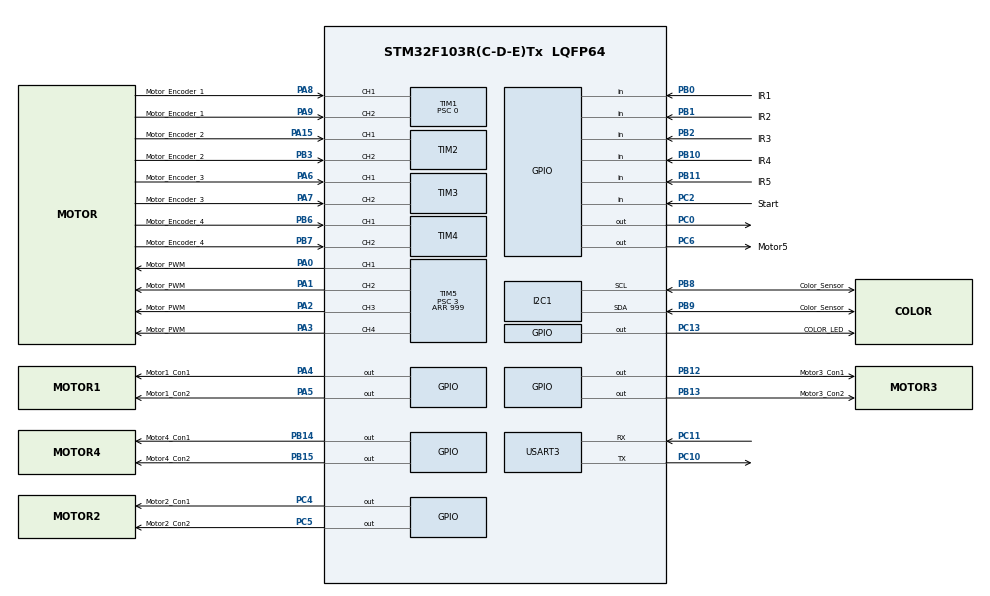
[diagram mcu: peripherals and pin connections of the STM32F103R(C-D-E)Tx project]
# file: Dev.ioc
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Dma.Request0=USART3_RX
Dma.Request1=USART3_TX
Dma.USART3_RX.0.Direction=DMA_PERIPH_TO_MEMORY
Dma.USART3_RX.0.Instance=DMA1_Channel3
Dma.USART3_RX.0.MemDataAlignment=DMA_MDATAALIGN_BYTE
Dma.USART3_RX.0.MemInc=DMA_MINC_ENABLE
Dma.USART3_RX.0.Mode=DMA_NORMAL
Dma.USART3_RX.0.PeriphDataAlignment=DMA_PDATAALIGN_BYTE
Dma.USART3_RX.0.PeriphInc=DMA_PINC_DISABLE
Dma.USART3_RX.0.Priority=DMA_PRIORITY_VERY_HIGH
Dma.USART3_TX.1.Direction=DMA_MEMORY_TO_PERIPH
Dma.USART3_TX.1.Instance=DMA1_Channel2
Dma.USART3_TX.1.MemDataAlignment=DMA_MDATAALIGN_BYTE
Dma.USART3_TX.1.MemInc=DMA_MINC_ENABLE
Dma.USART3_TX.1.Mode=DMA_NORMAL
Dma.USART3_TX.1.PeriphDataAlignment=DMA_PDATAALIGN_BYTE
Dma.USART3_TX.1.PeriphInc=DMA_PINC_DISABLE
Dma.USART3_TX.1.Priority=DMA_PRIORITY_HIGH
I2C1.I2C_Mode=I2C_Fast
Mcu.Family=STM32F1
Mcu.Name=STM32F103R(C-D-E)Tx
Mcu.Package=LQFP64
NVIC.DMA1_Channel2_IRQn=true\:0\:0\:false\:false\:true\:false\:true\:true
NVIC.DMA1_Channel3_IRQn=true\:0\:0\:false\:false\:true\:false\:true\:true
NVIC.PriorityGroup=NVIC_PRIORITYGROUP_4
NVIC.TIM6_IRQn=true\:1\:0\:true\:false\:true\:true\:true\:true
NVIC.TIM7_IRQn=true\:0\:0\:false\:false\:true\:true\:true\:true
NVIC.USART3_IRQn=true\:5\:0\:true\:false\:true\:true\:true\:true
PA0-WKUP.GPIO_Label=Motor_PWM
PA0-WKUP.Signal=S_TIM5_CH1
PA1.GPIO_Label=Motor_PWM
PA1.Signal=S_TIM5_CH2
PA13.Mode=Serial_Wire
PA13.Signal=SYS_JTMS-SWDIO
PA14.Mode=Serial_Wire
PA14.Signal=SYS_JTCK-SWCLK
PA15.GPIO_Label=Motor_Encoder_2
PA15.Signal=S_TIM2_CH1_ETR
PA2.GPIO_Label=Motor_PWM
PA2.Signal=S_TIM5_CH3
PA3.GPIO_Label=Motor_PWM
PA3.Signal=S_TIM5_CH4
PA4.GPIO_Label=Motor1_Con1
PA4.GPIO_ModeDefaultOutputPP=GPIO_MODE_OUTPUT_PP
PA4.GPIO_PuPd=GPIO_NOPULL
PA4.GPIO_Speed=GPIO_SPEED_FREQ_HIGH
PA4.PinState=GPIO_PIN_RESET
PA4.Signal=GPIO_Output
PA5.GPIO_Label=Motor1_Con2
PA5.GPIO_ModeDefaultOutputPP=GPIO_MODE_OUTPUT_PP
PA5.GPIO_PuPd=GPIO_NOPULL
PA5.GPIO_Speed=GPIO_SPEED_FREQ_HIGH
PA5.PinState=GPIO_PIN_RESET
PA5.Signal=GPIO_Output
PA6.GPIO_Label=Motor_Encoder_3
PA6.Signal=S_TIM3_CH1
PA7.GPIO_Label=Motor_Encoder_3
PA7.Signal=S_TIM3_CH2
PA8.GPIO_Label=Motor_Encoder_1
PA8.Signal=S_TIM1_CH1
PA9.GPIO_Label=Motor_Encoder_1
PA9.Signal=S_TIM1_CH2
PB0.GPIO_Label=IR1
PB0.GPIO_PuPd=GPIO_PULLUP
PB0.Signal=GPIO_Input
PB1.GPIO_Label=IR2
PB1.GPIO_PuPd=GPIO_PULLUP
PB1.Signal=GPIO_Input
PB10.GPIO_Label=IR4
PB10.GPIO_PuPd=GPIO_PULLUP
PB10.Signal=GPIO_Input
PB11.GPIO_Label=IR5
PB11.GPIO_PuPd=GPIO_PULLUP
PB11.Signal=GPIO_Input
PB12.GPIO_Label=Motor3_Con1
PB12.GPIO_ModeDefaultOutputPP=GPIO_MODE_OUTPUT_PP
PB12.GPIO_PuPd=GPIO_NOPULL
PB12.GPIO_Speed=GPIO_SPEED_FREQ_HIGH
PB12.PinState=GPIO_PIN_RESET
PB12.Signal=GPIO_Output
PB13.GPIO_Label=Motor3_Con2
PB13.GPIO_ModeDefaultOutputPP=GPIO_MODE_OUTPUT_PP
PB13.GPIO_PuPd=GPIO_NOPULL
PB13.GPIO_Speed=GPIO_SPEED_FREQ_HIGH
PB13.PinState=GPIO_PIN_RESET
PB13.Signal=GPIO_Output
PB14.GPIO_Label=Motor4_Con1
PB14.GPIO_ModeDefaultOutputPP=GPIO_MODE_OUTPUT_PP
PB14.GPIO_PuPd=GPIO_NOPULL
PB14.GPIO_Speed=GPIO_SPEED_FREQ_HIGH
PB14.PinState=GPIO_PIN_RESET
PB14.Signal=GPIO_Output
PB15.GPIO_Label=Motor4_Con2
PB15.GPIO_ModeDefaultOutputPP=GPIO_MODE_OUTPUT_PP
PB15.GPIO_PuPd=GPIO_NOPULL
PB15.GPIO_Speed=GPIO_SPEED_FREQ_HIGH
PB15.PinState=GPIO_PIN_RESET
PB15.Signal=GPIO_Output
PB2.GPIO_Label=IR3
PB2.GPIO_PuPd=GPIO_PULLUP
PB2.Signal=GPIO_Input
PB3.GPIO_Label=Motor_Encoder_2
PB3.Signal=S_TIM2_CH2
PB6.GPIO_Label=Motor_Encoder_4
PB6.Signal=S_TIM4_CH1
PB7.GPIO_Label=Motor_Encoder_4
PB7.Signal=S_TIM4_CH2
PB8.GPIO_Label=Color_Sensor
PB8.Mode=I2C
PB8.Signal=I2C1_SCL
PB9.GPIO_Label=Color_Sensor
PB9.Mode=I2C
PB9.Signal=I2C1_SDA
PC0.PinState=GPIO_PIN_SET
PC0.Signal=GPIO_Output
PC10.Mode=Asynchronous
PC10.Signal=USART3_TX
PC11.Mode=Asynchronous
PC11.Signal=USART3_RX
PC13-TAMPER-RTC.GPIO_Label=COLOR_LED
PC13-TAMPER-RTC.Signal=GPIO_Output
PC2.GPIO_Label=Start
PC2.GPIO_Mode=GPIO_MODE_INPUT
PC2.GPIO_PuPd=GPIO_PULLDOWN
PC2.Signal=GPIO_Input
PC4.GPIO_Label=Motor2_Con1
PC4.GPIO_ModeDefaultOutputPP=GPIO_MODE_OUTPUT_PP
PC4.GPIO_PuPd=GPIO_NOPULL
PC4.GPIO_Speed=GPIO_SPEED_FREQ_HIGH
PC4.PinState=GPIO_PIN_RESET
PC4.Signal=GPIO_Output
PC5.GPIO_Label=Motor2_Con2
PC5.GPIO_ModeDefaultOutputPP=GPIO_MODE_OUTPUT_PP
PC5.GPIO_PuPd=GPIO_NOPULL
PC5.GPIO_Speed=GPIO_SPEED_FREQ_HIGH
PC5.PinState=GPIO_PIN_RESET
PC5.Signal=GPIO_Output
PC6.GPIO_Label=Motor5
PC6.Signal=GPIO_Output
PD0-OSC_IN.Mode=HSE-External-Oscillator
PD0-OSC_IN.Signal=RCC_OSC_IN
PD1-OSC_OUT.Mode=HSE-External-Oscillator
PD1-OSC_OUT.Signal=RCC_OSC_OUT
ProjectManager.HeapSize=0x200
ProjectManager.StackSize=0x400
ProjectManager.TargetToolchain=CMake
RCC.AHBFreq_Value=72000000
RCC.APB1CLKDivider=RCC_HCLK_DIV2
RCC.APB1Freq_Value=36000000
RCC.APB1TimFreq_Value=72000000
RCC.APB2Freq_Value=72000000
RCC.APB2TimFreq_Value=72000000
RCC.HCLKFreq_Value=72000000
RCC.PLLMUL=RCC_PLL_MUL9
RCC.PLLSourceVirtual=RCC_PLLSOURCE_HSE
RCC.SYSCLKFreq_VALUE=72000000
RCC.SYSCLKSource=RCC_SYSCLKSOURCE_PLLCLK
RCC.USBFreq_Value=72000000
SH.S_TIM1_CH1.0=TIM1_CH1,Encoder_Interface
SH.S_TIM1_CH2.0=TIM1_CH2,Encoder_Interface
SH.S_TIM2_CH1_ETR.0=TIM2_CH1,Encoder_Interface
SH.S_TIM2_CH2.0=TIM2_CH2,Encoder_Interface
SH.S_TIM3_CH1.0=TIM3_CH1,Encoder_Interface
SH.S_TIM3_CH2.0=TIM3_CH2,Encoder_Interface
SH.S_TIM4_CH1.0=TIM4_CH1,Encoder_Interface
SH.S_TIM4_CH2.0=TIM4_CH2,Encoder_Interface
SH.S_TIM5_CH1.0=TIM5_CH1,PWM Generation1 CH1
SH.S_TIM5_CH2.0=TIM5_CH2,PWM Generation2 CH2
SH.S_TIM5_CH3.0=TIM5_CH3,PWM Generation3 CH3
SH.S_TIM5_CH4.0=TIM5_CH4,PWM Generation4 CH4
TIM1.EncoderMode=TIM_ENCODERMODE_TI12
TIM1.IC1Filter=10
TIM1.IC1Polarity=TIM_ICPOLARITY_RISING
TIM1.IC1Prescaler=TIM_ICPSC_DIV1
TIM1.IC2Filter=10
TIM1.IC2Prescaler=TIM_ICPSC_DIV1
TIM1.Prescaler=0
TIM2.EncoderMode=TIM_ENCODERMODE_TI12
TIM2.IC1Filter=10
TIM2.IC1Polarity=TIM_ICPOLARITY_FALLING
TIM2.IC2Filter=10
TIM2.IC2Polarity=TIM_ICPOLARITY_RISING
TIM3.EncoderMode=TIM_ENCODERMODE_TI12
TIM3.IC1Filter=10
TIM3.IC1Polarity=TIM_ICPOLARITY_FALLING
TIM3.IC2Filter=10
TIM4.EncoderMode=TIM_ENCODERMODE_TI12
TIM4.IC1Filter=10
TIM4.IC1Polarity=TIM_ICPOLARITY_RISING
TIM4.IC2Filter=10
TIM5.AutoReloadPreload=TIM_AUTORELOAD_PRELOAD_ENABLE
TIM5.Channel-PWM\ Generation1\ CH1=TIM_CHANNEL_1
TIM5.Channel-PWM\ Generation2\ CH2=TIM_CHANNEL_2
TIM5.Channel-PWM\ Generation3\ CH3=TIM_CHANNEL_3
TIM5.Channel-PWM\ Generation4\ CH4=TIM_CHANNEL_4
TIM5.Period=999
TIM5.Prescaler=3
TIM6.Period=999
TIM6.Prescaler=7199
TIM7.Period=1999
TIM7.Prescaler=719
USART3.VirtualMode=VM_ASYNC
VP_TIM5_VS_ClockSourceINT.Mode=Internal
VP_TIM6_VS_ClockSourceINT.Mode=Enable_Timer
VP_TIM7_VS_ClockSourceINT.Mode=Enable_Timer
board=custom

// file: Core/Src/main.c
/* USER CODE BEGIN Header */
/**
  ******************************************************************************
  * @file           : main.c
  * @brief          : Main program body
  ******************************************************************************
  * @attention
  *
  * Copyright (c) 2026 STMicroelectronics.
  * All rights reserved.
  *
  * This software is licensed under terms that can be found in the LICENSE file
  * in the root directory of this software component.
  * If no LICENSE file comes with this software, it is provided AS-IS.
  *
  ******************************************************************************
  */
/* USER CODE END Header */
#include "main.h"
#include "dma.h"
#include "gpio.h"
#include "i2c.h"
#include "stm32f1xx_ll_gpio.h"
#include "tim.h"
#include "usart.h"

/* USER CODE BEGIN Includes */
#include "color.h"
#include "motor.h"
#include "pid.h"
#include "state_handler.h"
#include "task.h"
#include "track.h"

/* USER CODE END Includes */

/* USER CODE BEGIN PV */
volatile TRACK_STATUS g_status = STBY; // 等待启动
extern volatile bool g_status_errorflag; // 状态机错误标志位
/* USER CODE END PV */

void SystemClock_Config(void);
/* USER CODE BEGIN PFP */

/**
 * @brief 重置状态机
 */
void Status_Reset(void)
{
    g_status = STBY; // 恢复等待状态
    g_return_flag = 0; // 清除返回状态标志位
    g_corner_count = 0; // 清零转弯计数
    g_line_reached = 0; // 清除到达线上标志位
    g_color_status = 0; // 清除颜色传感器状态标志位
    g_motor_startflag = 0; // 清除电机启动标志位
    PID_Init(); // 再次初始化PID
}
/* USER CODE END PFP */

int main(void)
{

    /* MCU Configuration--------------------------------------------------------*/

    /* Reset of all peripherals, Initializes the Flash interface and the Systick. */
    HAL_Init();

    /* Configure the system clock */
    SystemClock_Config();

    /* Initialize all configured peripherals */
    MX_GPIO_Init();
    MX_DMA_Init();
    MX_I2C1_Init();
    MX_TIM1_Init();
    MX_TIM2_Init();
    MX_TIM3_Init();
    MX_TIM4_Init();
    MX_TIM5_Init();
    MX_USART3_UART_Init();
    MX_TIM6_Init();
    MX_TIM7_Init();
    /* USER CODE BEGIN 2 */

    PID_Init(); // 初始化 PID 参数

    Color_Init(); // 初始化颜色传感器

    /* USER CODE END 2 */

    /* Infinite loop */
    /* USER CODE BEGIN WHILE */
    while (1)
    {
        switch (g_status)
        {
        case STBY: // 等待状态
            STBY_Handler();
            break;
        case TRACK: // 循迹状态
            TRACK_Handler();
            break;
        case CORNER: // 转角状态
            CORNER_Handler();
            break;
        case THROW_PREPARE: // 准备进入投掷区
            THROW_PREPARE_Handler();
            break;
        case THROW_WAIT: // 准备投掷
            THROW_WAIT_Handler();
            break;
        case STOP_PREPARE: // 准备进入开始区
            STOP_PREPARE_Handler();
            break;
        default: // 状态出错
            g_status_errorflag = 1; // 状态机出错
            Error_Handler(); // 进入错误处理，尝试恢复等待状态
            break;
        }
        /* USER CODE END WHILE */

    }
}

void SystemClock_Config(void)
{
    LL_FLASH_SetLatency(LL_FLASH_LATENCY_2);
    while (LL_FLASH_GetLatency() != LL_FLASH_LATENCY_2)
    {
    }
    LL_RCC_HSE_Enable();

    /* Wait till HSE is ready */
    while (LL_RCC_HSE_IsReady() != 1)
    {
    }
    LL_RCC_PLL_ConfigDomain_SYS(LL_RCC_PLLSOURCE_HSE_DIV_1, LL_RCC_PLL_MUL_9);
    LL_RCC_PLL_Enable();

    /* Wait till PLL is ready */
    while (LL_RCC_PLL_IsReady() != 1)
    {
    }
    LL_RCC_SetAHBPrescaler(LL_RCC_SYSCLK_DIV_1);
    LL_RCC_SetAPB1Prescaler(LL_RCC_APB1_DIV_2);
    LL_RCC_SetAPB2Prescaler(LL_RCC_APB2_DIV_1);
    LL_RCC_SetSysClkSource(LL_RCC_SYS_CLKSOURCE_PLL);

    /* Wait till System clock is ready */
    while (LL_RCC_GetSysClkSource() != LL_RCC_SYS_CLKSOURCE_STATUS_PLL)
    {
    }
    LL_SetSystemCoreClock(72000000);

    /* Update the time base */
    if (HAL_InitTick(TICK_INT_PRIORITY) != HAL_OK)
    {
        Error_Handler();
    }
}

void Error_Handler(void)
{
    /* USER CODE BEGIN Error_Handler_Debug */
    /* User can add his own implementation to report the HAL error return state */
    __disable_irq();
    while (1)
    {
        if (g_status_errorflag) // 状态错误
        {
            // 恢复起始状态
            Track_ForceBreak();
            Track_Stop();
            Status_Reset();
            g_status_errorflag = 0;
            break;
        }
    }
    __enable_irq();
    /* USER CODE END Error_Handler_Debug */
}
